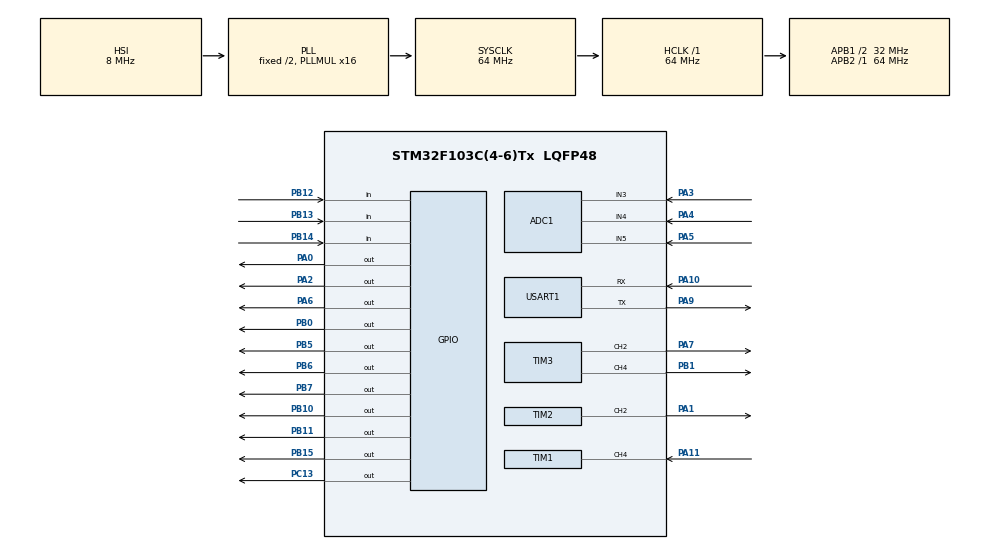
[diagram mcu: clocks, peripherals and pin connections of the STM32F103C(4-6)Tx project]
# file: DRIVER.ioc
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ADC1.Channel-2\#ChannelRegularConversion=ADC_CHANNEL_3
ADC1.ContinuousConvMode=ENABLE
ADC1.EnableRegularConversion=ENABLE
ADC1.NbrOfConversion=1
ADC1.NbrOfConversionFlag=1
ADC1.Rank-2\#ChannelRegularConversion=1
ADC1.SamplingTime-2\#ChannelRegularConversion=ADC_SAMPLETIME_1CYCLE_5
ADC1.master=1
Mcu.Family=STM32F1
Mcu.Name=STM32F103C(4-6)Tx
Mcu.Package=LQFP48
NVIC.ADC1_2_IRQn=true\:0\:0\:false\:false\:true\:true\:true\:true
NVIC.PriorityGroup=NVIC_PRIORITYGROUP_4
NVIC.TIM1_BRK_IRQn=true\:0\:0\:false\:false\:true\:true\:true\:true
NVIC.TIM1_CC_IRQn=true\:0\:0\:false\:false\:true\:true\:true\:true
NVIC.TIM1_TRG_COM_IRQn=true\:0\:0\:false\:false\:true\:true\:true\:true
NVIC.TIM1_UP_IRQn=true\:0\:0\:false\:false\:true\:true\:true\:true
NVIC.TIM2_IRQn=true\:2\:0\:true\:false\:true\:true\:true\:true
NVIC.TIM3_IRQn=true\:2\:0\:true\:false\:true\:true\:true\:true
NVIC.USART1_IRQn=true\:3\:0\:true\:false\:true\:true\:true\:true
PA0-WKUP.Signal=GPIO_Output
PA1.Signal=S_TIM2_CH2
PA10.Mode=Asynchronous
PA10.Signal=USART1_RX
PA11.Signal=S_TIM1_CH4
PA13.Mode=Serial_Wire
PA13.Signal=SYS_JTMS-SWDIO
PA14.Mode=Serial_Wire
PA14.Signal=SYS_JTCK-SWCLK
PA2.Signal=GPIO_Output
PA3.Signal=ADCx_IN3
PA4.Signal=ADCx_IN4
PA5.Signal=ADCx_IN5
PA6.Signal=GPIO_Output
PA7.Signal=S_TIM3_CH2
PA9.Mode=Asynchronous
PA9.Signal=USART1_TX
PB0.Signal=GPIO_Output
PB1.Signal=S_TIM3_CH4
PB10.Signal=GPIO_Output
PB11.Signal=GPIO_Output
PB12.Signal=GPIO_Input
PB13.Signal=GPIO_Input
PB14.Signal=GPIO_Input
PB15.Signal=GPIO_Output
PB5.Signal=GPIO_Output
PB6.Signal=GPIO_Output
PB7.Signal=GPIO_Output
PC13-TAMPER-RTC.Signal=GPIO_Output
PD0-OSC_IN.Mode=HSE-External-Oscillator
PD0-OSC_IN.Signal=RCC_OSC_IN
PD1-OSC_OUT.Mode=HSE-External-Oscillator
PD1-OSC_OUT.Signal=RCC_OSC_OUT
ProjectManager.HeapSize=0x200
ProjectManager.StackSize=0x400
ProjectManager.TargetToolchain=STM32CubeIDE
RCC.ADCPresc=RCC_ADCPCLK2_DIV6
RCC.AHBFreq_Value=64000000
RCC.APB1CLKDivider=RCC_HCLK_DIV2
RCC.APB1Freq_Value=32000000
RCC.APB1TimFreq_Value=64000000
RCC.APB2Freq_Value=64000000
RCC.APB2TimFreq_Value=64000000
RCC.HCLKFreq_Value=64000000
RCC.PLLMUL=RCC_PLL_MUL16
RCC.SYSCLKFreq_VALUE=64000000
RCC.SYSCLKSource=RCC_SYSCLKSOURCE_PLLCLK
RCC.USBFreq_Value=64000000
SH.ADCx_IN3.0=ADC1_IN3,IN3
SH.ADCx_IN4.0=ADC1_IN4,IN4
SH.ADCx_IN5.0=ADC1_IN5,IN5
SH.S_TIM1_CH4.0=TIM1_CH4,Input_Capture4_from_TI4
SH.S_TIM2_CH2.0=TIM2_CH2,PWM Generation2 CH2
SH.S_TIM3_CH2.0=TIM3_CH2,PWM Generation2 CH2
SH.S_TIM3_CH4.0=TIM3_CH4,PWM Generation4 CH4
TIM1.Channel-Input_Capture4_from_TI4=TIM_CHANNEL_4
TIM1.CounterMode=TIM_COUNTERMODE_UP
TIM1.Period=999
TIM1.Prescaler=63
TIM2.Channel-PWM\ Generation2\ CH2=TIM_CHANNEL_2
TIM2.CounterMode=TIM_COUNTERMODE_DOWN
TIM2.Period=999
TIM2.Prescaler=63
TIM3.Channel-PWM\ Generation2\ CH2=TIM_CHANNEL_2
TIM3.Channel-PWM\ Generation4\ CH4=TIM_CHANNEL_4
TIM3.CounterMode=TIM_COUNTERMODE_DOWN
TIM3.OCMode_PWM-PWM\ Generation4\ CH4=TIM_OCMODE_PWM1
TIM3.OCPolarity_2=TIM_OCPOLARITY_LOW
TIM3.OCPolarity_4=TIM_OCPOLARITY_LOW
USART1.VirtualMode=VM_ASYNC
USART1.WordLength=WORDLENGTH_8B
VP_TIM2_VS_ClockSourceINT.Mode=Internal
VP_TIM3_VS_ClockSourceINT.Mode=Internal
board=custom

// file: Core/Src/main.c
/* USER CODE BEGIN Header */
/**
 ******************************************************************************
 * @file           : main.c
 * @brief          : Main program body
 ******************************************************************************
 * @attention
 *
 * Copyright (c) 2023 STMicroelectronics.
 * All rights reserved.
 *
 * This software is licensed under terms that can be found in the LICENSE file
 * in the root directory of this software component.
 * If no LICENSE file comes with this software, it is provided AS-IS.
 *
 ******************************************************************************
 */
/* USER CODE END Header */
#include "main.h"

/* USER CODE BEGIN Includes */
#include <stdio.h>
#include <math.h>
#include "../../Driver_step/Driver_step.h"

#define PI 3.14159265
#define L1 13
#define L2 12
#define L3 12
#define L4 3
#define L5 5
/* USER CODE END Includes */

ADC_HandleTypeDef hadc1;

TIM_HandleTypeDef htim1;
TIM_HandleTypeDef htim2;
TIM_HandleTypeDef htim3;

UART_HandleTypeDef huart1;

void SystemClock_Config(void);
static void MX_GPIO_Init(void);
static void MX_ADC1_Init(void);
static void MX_TIM2_Init(void);
static void MX_USART1_UART_Init(void);
static void MX_TIM3_Init(void);
static void MX_TIM1_Init(void);

/* USER CODE BEGIN 0 */
uint32_t adc1 = 0;
uint32_t adc2 = 0;
uint32_t adc3 = 0;
uint32_t counter = 0;

char data[21];
char str[4];
int read_uart = 0;

uint32_t pos1 = 0;
uint32_t pos2 = 0;
uint32_t pos3 = 0;

uint32_t angle1 = 0;
uint32_t angle2 = 0;
uint32_t angle3 = 0;

uint32_t direction1 = 0;
uint32_t direction2 = 0;
uint32_t direction3 = 0;

uint32_t millis;
uint32_t uart = 0;

uint32_t timestart1 = 0;
uint32_t timestart2 = 0;
uint32_t timestart3 = 0;

uint32_t pul1 = 0;
uint32_t pul2 = 0;
uint32_t pul3 = 0;

double theta1 = 0;
double theta2 = 0;
double theta3 = 0;

//set stat up adc read positions 1
void ADC_Select_CH3(void) {
	ADC_ChannelConfTypeDef sConfig = { 0 };
	sConfig.Channel = ADC_CHANNEL_3;
	sConfig.Rank = ADC_REGULAR_RANK_1;
	sConfig.SamplingTime = ADC_SAMPLETIME_1CYCLE_5;
	if (HAL_ADC_ConfigChannel(&hadc1, &sConfig) != HAL_OK) {
		Error_Handler();
	}
}
//set stat up adc read positions 2
void ADC_Select_CH4(void) {
	ADC_ChannelConfTypeDef sConfig = { 0 };
	sConfig.Channel = ADC_CHANNEL_4;
	sConfig.Rank = ADC_REGULAR_RANK_1;
	sConfig.SamplingTime = ADC_SAMPLETIME_1CYCLE_5;
	if (HAL_ADC_ConfigChannel(&hadc1, &sConfig) != HAL_OK) {
		Error_Handler();
	}
}
//set stat up adc read positions 3
void ADC_Select_CH5(void) {
	ADC_ChannelConfTypeDef sConfig = { 0 };
	sConfig.Channel = ADC_CHANNEL_5;
	sConfig.Rank = ADC_REGULAR_RANK_1;
	sConfig.SamplingTime = ADC_SAMPLETIME_1CYCLE_5;
	if (HAL_ADC_ConfigChannel(&hadc1, &sConfig) != HAL_OK) {
		Error_Handler();
	}
}

void HAL_UART_RxCpltCallback(UART_HandleTypeDef *huart) {
	UNUSED(huart);
	if (huart->Instance == huart1.Instance) {
		uart = 3;

		HAL_UART_Receive_IT(&huart1, data, 21);

		timestart1 = HAL_GetTick();
		timestart2 = HAL_GetTick();
		timestart3 = HAL_GetTick();

		strncpy(str, data + 1, 4);
		pos1 = atoi(str);
		strncpy(str, "" + 0, 4);
		strncpy(str, data + 6, 1);
		direction1 = atoi(str);
		strncpy(str, "" + 0, 4);

		strncpy(str, data + 8, 4);
		pos2 = atoi(str);
		strncpy(str, "" + 0, 4);
		strncpy(str, data + 13, 1);
		direction2 = atoi(str);
		strncpy(str, "" + 0, 4);

		strncpy(str, data + 15, 4);
		pos3 = atoi(str);
		strncpy(str, "" + 0, 4);
		strncpy(str, data + 20, 1);
		direction3 = atoi(str);
		strncpy(str, "" + 0, 4);

		if (direction1 == 1) {
			angle1 = adc1 + pos1;
		}
		if (direction1 == 0) {
			angle1 = adc1 - pos1;
		}
		while (abs(angle1) > 4095) {
			if (angle1 < 0)
				angle1 = angle1 + 4095;
			if (angle1 > 0)
				angle1 = angle1 - 4095;
		}
		if (angle1 < 0) {
			angle1 = 4095 + angle1;
		}

		if (direction2 == 1) {
			angle2 = adc2 + pos2;
		}
		if (direction2 == 0) {
			angle2 = adc2 - pos2;
		}
		while (abs(angle2) > 4095) {
			if (angle2 < 0)
				angle2 = angle2 + 4095;
			if (angle2 > 0)
				angle2 = angle2 - 4095;
		}
		if (angle2 < 0) {
			angle2 = 4095 + angle2;
		}

		if (direction3 == 1) {
			angle3 = adc3 + pos3;
		}
		if (direction3 == 0) {
			angle3 = adc3 - pos3;
		}
		while (abs(angle3) > 4095) {
			if (angle3 < 0)
				angle3 = angle3 + 4095;
			if (angle3 > 0)
				angle3 = angle3 - 4095;
		}
		if (angle3 < 0) {
			angle3 = 4095 + angle3;
		}

		// math
		theta1 = atan(pos2 / pos1) * 180 / PI;

		double cos_theta3 = (pow(pos1, 2) + pow(pos2, 2) - pow(pos3 - L1, 2)
				- pow(L2, 2) - pow(L3, 2)) / (2 * L2 * L3);
		double sin_theta3 = sqrt(1 - pow(cos_theta3, 2));

		theta3 = atan(sin_theta3 / cos_theta3) * 180 / PI;

		double sin_theta2 = ((L2 + L3 * cos_theta3) * pos1
				+ sqrt(pow(pos1, 1) + pow(pos2, 2)) * L3 * sin_theta3)
				/ (pow(L2, 2) + pow(L3, 2) + 2 * L2 * L3 * cos_theta3);

		double cos_theta2 = (L3 * sin_theta3 * (pos3 - L1)
				+ sqrt(pow(pos1, 2) + pow(pos2, 2)) * (L2 + L3 * cos_theta3))
				/ (pow(L2, 2) + pow(L3, 2) + 2 * L2 * L3 * cos_theta3);

		theta2 = atan(sin_theta2 / cos_theta3) * 180 / PI;
		//end math

		pul1 = 80 * theta1;
		pul2 = 80 * theta2;
		pul3 = 80 * theta3;
	}
}

DRIVER_Name driver1;
DRIVER_Name driver2;
DRIVER_Name driver3;
/* USER CODE END 0 */

int main(void) {

	/* MCU Configuration--------------------------------------------------------*/

	/* Reset of all peripherals, Initializes the Flash interface and the Systick. */

	HAL_Init();

	/* Configure the system clock */
	SystemClock_Config();

	/* Initialize all configured peripherals */
	MX_GPIO_Init();
	MX_ADC1_Init();
	MX_TIM2_Init();
	MX_USART1_UART_Init();
	MX_TIM3_Init();
	MX_TIM1_Init();
	/* USER CODE BEGIN 2 */
	ADC_Select_CH3();
	HAL_ADC_Start(&hadc1);
	HAL_ADC_PollForConversion(&hadc1, 10);
	angle1 = HAL_ADC_GetValue(&hadc1);
	HAL_ADC_Stop(&hadc1);
	//HAL_Delay(10);
	//read positions 2
	ADC_Select_CH4();
	HAL_ADC_Start(&hadc1);
	HAL_ADC_PollForConversion(&hadc1, 10);
	angle2 = HAL_ADC_GetValue(&hadc1);
	HAL_ADC_Stop(&hadc1);
	//HAL_Delay(10);
	//read positions 2
	ADC_Select_CH5();
	HAL_ADC_Start(&hadc1);
	HAL_ADC_PollForConversion(&hadc1, 10);
	angle3 = HAL_ADC_GetValue(&hadc1);
	HAL_ADC_Stop(&hadc1);

//	HAL_GPIO_WritePin(GPIOA, GPIO_PIN_0, GPIO_PIN_SET);
//	HAL_GPIO_WritePin(GPIOA, GPIO_PIN_2, GPIO_PIN_SET);
//	HAL_GPIO_WritePin(GPIOA, GPIO_PIN_0, GPIO_PIN_SET);
//	HAL_Delay(10);
//	HAL_GPIO_WritePin(GPIOA, GPIO_PIN_2, GPIO_PIN_SET);
//	HAL_Delay(10);
//	HAL_TIM_PWM_Start(&htim2, TIM_CHANNEL_2);
//	__HAL_TIM_SetCompare(&htim2,TIM_CHANNEL_2,500);
//	HAL_Delay(100);
//	HAL_TIM_PWM_Stop(&htim2, TIM_CHANNEL_2);

	HAL_UART_Receive_IT(&huart1, data, 21);

	Driver_init(&driver1, GPIOA, GPIO_PIN_0, GPIOA, GPIO_PIN_2, &htim2,
	TIM_CHANNEL_2);
	Driver_init(&driver2, GPIOA, GPIO_PIN_6, GPIOB, GPIO_PIN_0, &htim3,
	TIM_CHANNEL_2);
	Driver_init(&driver3, GPIOB, GPIO_PIN_10, GPIOB, GPIO_PIN_11, &htim3,
	TIM_CHANNEL_4);
	/* USER CODE END 2 */

	/* Infinite loop */
	while (1) {

		/* USER CODE BEGIN 3 */

		millis = HAL_GetTick();
		//read positions 1
		ADC_Select_CH3();
		HAL_ADC_Start(&hadc1);
		HAL_ADC_PollForConversion(&hadc1, 10);
		adc1 = HAL_ADC_GetValue(&hadc1);
		HAL_ADC_Stop(&hadc1);
		//HAL_Delay(10);
		//read positions 2
		ADC_Select_CH4();
		HAL_ADC_Start(&hadc1);
		HAL_ADC_PollForConversion(&hadc1, 10);
		adc2 = HAL_ADC_GetValue(&hadc1);
		HAL_ADC_Stop(&hadc1);
		//HAL_Delay(10);
		//read positions 2
		ADC_Select_CH5();
		HAL_ADC_Start(&hadc1);
		HAL_ADC_PollForConversion(&hadc1, 10);
		adc3 = HAL_ADC_GetValue(&hadc1);
		HAL_ADC_Stop(&hadc1);
		//HAL_Delay(10);

		//if (uart > 0) {
			//pos1
			if (millis - timestart1 < pul1) {
				HAL_GPIO_WritePin(GPIOB, GPIO_PIN_7, 1);
				if (direction1 == 1) {
					Driver_ON(&driver1);
				} else {
					Driver_OFF(&driver1);
				}
			} else if (millis - timestart1 == 0) {
				uart--;
				HAL_GPIO_WritePin(GPIOB, GPIO_PIN_7, 0);
				Driver_STOP(&driver1);
			} else {
				HAL_GPIO_WritePin(GPIOB, GPIO_PIN_7, 0);
				Driver_STOP(&driver1);
			}
			//pos2
			if (millis - timestart2 < pul2) {
				if (direction2 == 1) {
					Driver_ON(&driver2);
				} else {
					Driver_OFF(&driver2);
				}
			} else if (millis - timestart2 == 0) {
				uart--;
				Driver_STOP(&driver2);
			} else {
				Driver_STOP(&driver2);
			}
			//pos3
			if (millis - timestart3 < pul3) {
				if (direction3 == 1) {
					Driver_OFF(&driver3);
				} else {
					Driver_ON(&driver3);
				}
			} else if (millis - timestart3 == 0) {
				uart--;
				Driver_STOP(&driver3);
			} else {
				Driver_STOP(&driver3);
			}
		//}
//		//feedback adc1
//		if (adc1 > angle1) {
//			Driver_ON(&driver1);
//		} else if (adc1 < angle1) {
//			Driver_OFF(&driver1);
//		} else if (adc1 == angle1) {
//			Driver_STOP(&driver1);
//		}
////
//		//feedback adc2
//		if (adc2 > angle2) {
//			Driver_ON(&driver2);
//		} else if (adc2 < angle2) {
//			Driver_OFF(&driver2);
//		} else if (adc2 == angle2) {
//			Driver_STOP(&driver2);
//		}
////
////		//feedback adc3
//		if (adc3 > angle3) {
//			Driver_OFF(&driver3);
//		} else if (adc3 < angle3) {
//			Driver_ON(&driver3);
//		} else if (adc3 == angle3) {
//			Driver_STOP(&driver3);
//		}

	}

//	SysTick->VAL = 0;
	/* USER CODE END 3 */
}

void SystemClock_Config(void) {
	RCC_OscInitTypeDef RCC_OscInitStruct = { 0 };
	RCC_ClkInitTypeDef RCC_ClkInitStruct = { 0 };
	RCC_PeriphCLKInitTypeDef PeriphClkInit = { 0 };

	/** Initializes the RCC Oscillators according to the specified parameters
	 * in the RCC_OscInitTypeDef structure.
	 */
	RCC_OscInitStruct.OscillatorType = RCC_OSCILLATORTYPE_HSI;
	RCC_OscInitStruct.HSIState = RCC_HSI_ON;
	RCC_OscInitStruct.HSICalibrationValue = RCC_HSICALIBRATION_DEFAULT;
	RCC_OscInitStruct.PLL.PLLState = RCC_PLL_ON;
	RCC_OscInitStruct.PLL.PLLSource = RCC_PLLSOURCE_HSI_DIV2;
	RCC_OscInitStruct.PLL.PLLMUL = RCC_PLL_MUL16;
	if (HAL_RCC_OscConfig(&RCC_OscInitStruct) != HAL_OK) {
		Error_Handler();
	}

	/** Initializes the CPU, AHB and APB buses clocks
	 */
	RCC_ClkInitStruct.ClockType = RCC_CLOCKTYPE_HCLK | RCC_CLOCKTYPE_SYSCLK
			| RCC_CLOCKTYPE_PCLK1 | RCC_CLOCKTYPE_PCLK2;
	RCC_ClkInitStruct.SYSCLKSource = RCC_SYSCLKSOURCE_PLLCLK;
	RCC_ClkInitStruct.AHBCLKDivider = RCC_SYSCLK_DIV1;
	RCC_ClkInitStruct.APB1CLKDivider = RCC_HCLK_DIV2;
	RCC_ClkInitStruct.APB2CLKDivider = RCC_HCLK_DIV1;

	if (HAL_RCC_ClockConfig(&RCC_ClkInitStruct, FLASH_LATENCY_2) != HAL_OK) {
		Error_Handler();
	}
	PeriphClkInit.PeriphClockSelection = RCC_PERIPHCLK_ADC;
	PeriphClkInit.AdcClockSelection = RCC_ADCPCLK2_DIV6;
	if (HAL_RCCEx_PeriphCLKConfig(&PeriphClkInit) != HAL_OK) {
		Error_Handler();
	}
}

static void MX_ADC1_Init(void) {

	ADC_ChannelConfTypeDef sConfig = { 0 };

	/** Common config
	 */
	hadc1.Instance = ADC1;
	hadc1.Init.ScanConvMode = ADC_SCAN_DISABLE;
	hadc1.Init.ContinuousConvMode = ENABLE;
	hadc1.Init.DiscontinuousConvMode = DISABLE;
	hadc1.Init.ExternalTrigConv = ADC_SOFTWARE_START;
	hadc1.Init.DataAlign = ADC_DATAALIGN_RIGHT;
	hadc1.Init.NbrOfConversion = 1;
	if (HAL_ADC_Init(&hadc1) != HAL_OK) {
		Error_Handler();
	}

	/** Configure Regular Channel
	 */
	sConfig.Channel = ADC_CHANNEL_3;
	sConfig.Rank = ADC_REGULAR_RANK_1;
	sConfig.SamplingTime = ADC_SAMPLETIME_1CYCLE_5;
	if (HAL_ADC_ConfigChannel(&hadc1, &sConfig) != HAL_OK) {
		Error_Handler();
	}

}

static void MX_TIM1_Init(void) {

	TIM_MasterConfigTypeDef sMasterConfig = { 0 };
	TIM_IC_InitTypeDef sConfigIC = { 0 };

	htim1.Instance = TIM1;
	htim1.Init.Prescaler = 63;
	htim1.Init.CounterMode = TIM_COUNTERMODE_UP;
	htim1.Init.Period = 999;
	htim1.Init.ClockDivision = TIM_CLOCKDIVISION_DIV1;
	htim1.Init.RepetitionCounter = 0;
	htim1.Init.AutoReloadPreload = TIM_AUTORELOAD_PRELOAD_DISABLE;
	if (HAL_TIM_IC_Init(&htim1) != HAL_OK) {
		Error_Handler();
	}
	sMasterConfig.MasterOutputTrigger = TIM_TRGO_RESET;
	sMasterConfig.MasterSlaveMode = TIM_MASTERSLAVEMODE_DISABLE;
	if (HAL_TIMEx_MasterConfigSynchronization(&htim1, &sMasterConfig)
			!= HAL_OK) {
		Error_Handler();
	}
	sConfigIC.ICPolarity = TIM_INPUTCHANNELPOLARITY_RISING;
	sConfigIC.ICSelection = TIM_ICSELECTION_DIRECTTI;
	sConfigIC.ICPrescaler = TIM_ICPSC_DIV1;
	sConfigIC.ICFilter = 0;
	if (HAL_TIM_IC_ConfigChannel(&htim1, &sConfigIC, TIM_CHANNEL_4) != HAL_OK) {
		Error_Handler();
	}

}

static void MX_TIM2_Init(void) {

	TIM_ClockConfigTypeDef sClockSourceConfig = { 0 };
	TIM_MasterConfigTypeDef sMasterConfig = { 0 };
	TIM_OC_InitTypeDef sConfigOC = { 0 };

	htim2.Instance = TIM2;
	htim2.Init.Prescaler = 63;
	htim2.Init.CounterMode = TIM_COUNTERMODE_DOWN;
	htim2.Init.Period = 999;
	htim2.Init.ClockDivision = TIM_CLOCKDIVISION_DIV1;
	htim2.Init.AutoReloadPreload = TIM_AUTORELOAD_PRELOAD_DISABLE;
	if (HAL_TIM_Base_Init(&htim2) != HAL_OK) {
		Error_Handler();
	}
	sClockSourceConfig.ClockSource = TIM_CLOCKSOURCE_INTERNAL;
	if (HAL_TIM_ConfigClockSource(&htim2, &sClockSourceConfig) != HAL_OK) {
		Error_Handler();
	}
	if (HAL_TIM_PWM_Init(&htim2) != HAL_OK) {
		Error_Handler();
	}
	sMasterConfig.MasterOutputTrigger = TIM_TRGO_RESET;
	sMasterConfig.MasterSlaveMode = TIM_MASTERSLAVEMODE_DISABLE;
	if (HAL_TIMEx_MasterConfigSynchronization(&htim2, &sMasterConfig)
			!= HAL_OK) {
		Error_Handler();
	}
	sConfigOC.OCMode = TIM_OCMODE_PWM1;
	sConfigOC.Pulse = 0;
	sConfigOC.OCPolarity = TIM_OCPOLARITY_HIGH;
	sConfigOC.OCFastMode = TIM_OCFAST_DISABLE;
	if (HAL_TIM_PWM_ConfigChannel(&htim2, &sConfigOC, TIM_CHANNEL_2)
			!= HAL_OK) {
		Error_Handler();
	}
	HAL_TIM_MspPostInit(&htim2);

}

static void MX_TIM3_Init(void) {

	TIM_ClockConfigTypeDef sClockSourceConfig = { 0 };
	TIM_MasterConfigTypeDef sMasterConfig = { 0 };
	TIM_OC_InitTypeDef sConfigOC = { 0 };

	htim3.Instance = TIM3;
	htim3.Init.Prescaler = 0;
	htim3.Init.CounterMode = TIM_COUNTERMODE_DOWN;
	htim3.Init.Period = 65535;
	htim3.Init.ClockDivision = TIM_CLOCKDIVISION_DIV1;
	htim3.Init.AutoReloadPreload = TIM_AUTORELOAD_PRELOAD_DISABLE;
	if (HAL_TIM_Base_Init(&htim3) != HAL_OK) {
		Error_Handler();
	}
	sClockSourceConfig.ClockSource = TIM_CLOCKSOURCE_INTERNAL;
	if (HAL_TIM_ConfigClockSource(&htim3, &sClockSourceConfig) != HAL_OK) {
		Error_Handler();
	}
	if (HAL_TIM_PWM_Init(&htim3) != HAL_OK) {
		Error_Handler();
	}
	sMasterConfig.MasterOutputTrigger = TIM_TRGO_RESET;
	sMasterConfig.MasterSlaveMode = TIM_MASTERSLAVEMODE_DISABLE;
	if (HAL_TIMEx_MasterConfigSynchronization(&htim3, &sMasterConfig)
			!= HAL_OK) {
		Error_Handler();
	}
	sConfigOC.OCMode = TIM_OCMODE_PWM1;
	sConfigOC.Pulse = 0;
	sConfigOC.OCPolarity = TIM_OCPOLARITY_LOW;
	sConfigOC.OCFastMode = TIM_OCFAST_DISABLE;
	if (HAL_TIM_PWM_ConfigChannel(&htim3, &sConfigOC, TIM_CHANNEL_2)
			!= HAL_OK) {
		Error_Handler();
	}
	if (HAL_TIM_PWM_ConfigChannel(&htim3, &sConfigOC, TIM_CHANNEL_4)
			!= HAL_OK) {
		Error_Handler();
	}
	HAL_TIM_MspPostInit(&htim3);

}

static void MX_USART1_UART_Init(void) {

	huart1.Instance = USART1;
	huart1.Init.BaudRate = 115200;
	huart1.Init.WordLength = UART_WORDLENGTH_8B;
	huart1.Init.StopBits = UART_STOPBITS_1;
	huart1.Init.Parity = UART_PARITY_NONE;
	huart1.Init.Mode = UART_MODE_TX_RX;
	huart1.Init.HwFlowCtl = UART_HWCONTROL_NONE;
	huart1.Init.OverSampling = UART_OVERSAMPLING_16;
	if (HAL_UART_Init(&huart1) != HAL_OK) {
		Error_Handler();
	}

}

static void MX_GPIO_Init(void) {
	GPIO_InitTypeDef GPIO_InitStruct = { 0 };

	/* GPIO Ports Clock Enable */
	__HAL_RCC_GPIOC_CLK_ENABLE();
	__HAL_RCC_GPIOD_CLK_ENABLE();
	__HAL_RCC_GPIOA_CLK_ENABLE();
	__HAL_RCC_GPIOB_CLK_ENABLE();

	/*Configure GPIO pin Output Level */
	HAL_GPIO_WritePin(GPIOC, GPIO_PIN_13, GPIO_PIN_RESET);

	/*Configure GPIO pin Output Level */
	HAL_GPIO_WritePin(GPIOA, GPIO_PIN_0 | GPIO_PIN_2 | GPIO_PIN_6,
			GPIO_PIN_RESET);

	/*Configure GPIO pin Output Level */
	HAL_GPIO_WritePin(GPIOB,
			GPIO_PIN_0 | GPIO_PIN_10 | GPIO_PIN_11 | GPIO_PIN_15 | GPIO_PIN_5
					| GPIO_PIN_6 | GPIO_PIN_7, GPIO_PIN_RESET);

	/*Configure GPIO pin : PC13 */
	GPIO_InitStruct.Pin = GPIO_PIN_13;
	GPIO_InitStruct.Mode = GPIO_MODE_OUTPUT_PP;
	GPIO_InitStruct.Pull = GPIO_NOPULL;
	GPIO_InitStruct.Speed = GPIO_SPEED_FREQ_LOW;
	HAL_GPIO_Init(GPIOC, &GPIO_InitStruct);

	/*Configure GPIO pins : PA0 PA2 PA6 */
	GPIO_InitStruct.Pin = GPIO_PIN_0 | GPIO_PIN_2 | GPIO_PIN_6;
	GPIO_InitStruct.Mode = GPIO_MODE_OUTPUT_PP;
	GPIO_InitStruct.Pull = GPIO_NOPULL;
	GPIO_InitStruct.Speed = GPIO_SPEED_FREQ_LOW;
	HAL_GPIO_Init(GPIOA, &GPIO_InitStruct);

	/*Configure GPIO pins : PB0 PB10 PB11 PB15
	 PB5 PB6 PB7 */
	GPIO_InitStruct.Pin = GPIO_PIN_0 | GPIO_PIN_10 | GPIO_PIN_11 | GPIO_PIN_15
			| GPIO_PIN_5 | GPIO_PIN_6 | GPIO_PIN_7;
	GPIO_InitStruct.Mode = GPIO_MODE_OUTPUT_PP;
	GPIO_InitStruct.Pull = GPIO_NOPULL;
	GPIO_InitStruct.Speed = GPIO_SPEED_FREQ_LOW;
	HAL_GPIO_Init(GPIOB, &GPIO_InitStruct);

	/*Configure GPIO pins : PB12 PB13 PB14 */
	GPIO_InitStruct.Pin = GPIO_PIN_12 | GPIO_PIN_13 | GPIO_PIN_14;
	GPIO_InitStruct.Mode = GPIO_MODE_INPUT;
	GPIO_InitStruct.Pull = GPIO_NOPULL;
	HAL_GPIO_Init(GPIOB, &GPIO_InitStruct);

}

void Error_Handler(void) {
	__disable_irq();
	while (1) {
	}
}
